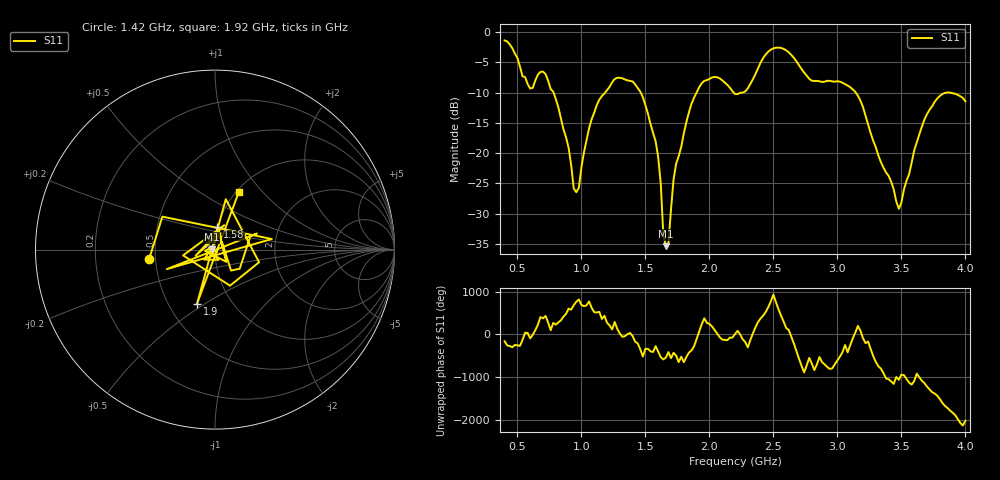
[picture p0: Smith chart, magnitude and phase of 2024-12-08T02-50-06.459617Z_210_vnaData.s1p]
!Created with skrf (http://scikit-rf.org).
# Hz S RI R 50.0
!freq ReS11 ImS11
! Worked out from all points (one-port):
!   181 points, 400 MHz to 4 GHz, reference 50 ohm
!   lowest |S11| = -35.4 dB at 1.66 GHz (marker M1), VSWR 1.03, Z = 48.3 + j0.102 ohm
!   |S11| at or under -10 dB: 782.6 MHz to 1.185 GHz (402.4 MHz wide, 40.9 % of centre); 1.464 GHz to 1.899 GHz (435.4 MHz wide, 25.9 % of centre); 3.144 GHz to 3.853 GHz (708.8 MHz wide, 20.3 % of centre) (the widest 3 of 5)
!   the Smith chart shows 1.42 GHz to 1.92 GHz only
!   S11 on the Smith chart (normalised r, x): 1.42 GHz: 0.46, -0.05; 1.58 GHz: 0.99, +0.25; 1.9 GHz: 0.69, -0.46; 1.92 GHz: 1.03, +0.76
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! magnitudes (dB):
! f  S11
! 400 MHz  -1.4
! 600 MHz  -9.3
! 720 MHz  -6.9
! 860 MHz  -16.1
! 960 MHz  -26.4
! 1.12 GHz  -12.1
! 1.3 GHz  -7.5
! 1.42 GHz  -8.6
! 1.58 GHz  -18.0
! 1.62 GHz  -25.0
! 1.64 GHz  -33.5
! 1.66 GHz  -35.4
! 1.68 GHz  -34.9
! 1.72 GHz  -24.3
! 1.76 GHz  -20.5
! 1.9 GHz  -10.0
! 1.92 GHz  -9.1
! 2.06 GHz  -7.5
! 2.2 GHz  -10.2
! 2.48 GHz  -2.9
! 2.66 GHz  -4.3
! 2.8 GHz  -8.0
! 3.1 GHz  -9.1
! 3.48 GHz  -29.2
! 3.56 GHz  -23.5
! 3.68 GHz  -14.4
! 3.78 GHz  -11.0
! 4 GHz  -11.4
